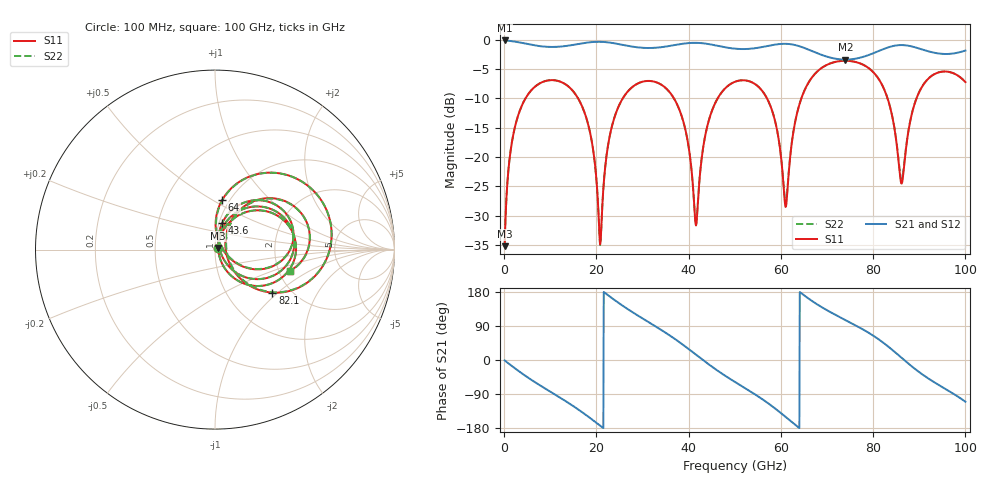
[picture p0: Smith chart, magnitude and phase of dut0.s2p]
! Touchstone file exported from HFSS 2026.1.0
!  File:  C:/ffzhzh/LocalFiles/Ansys_Project_Files/temp_train_TSV_RDL_0_1783435666_41684.aedt
!  Generated:  10:59:44 PM Jul  7, 2026
!  Design:  TSV_RDL
!  Project:  temp_train_TSV_RDL_0_1783435666_41684
! Variables:
!  h_bsmrdl = 2.12um
!  h_ox = 20um
!  h_rdl = 5um
!  h_sub = 80.26um
!  h_tmrdl = 4.34um
!  h_tsv = 80.26um
!  h_via = 3um
!  l_bsmrdl = 332.84um
!  l_sub = 2706.54um
!  l_tmrdl = 296.42um
!  m_sub = 200um
!  pitch = 40.78um
!  r_tsv = 6.63um
!  s_tmrdl = 10um
!  w_bsmrdl = 23.51um
!  w_sub = 500um
!  w_tmrdl = 17.27um
!  x_tsv_center1 = 305.055um
!  x_tsv_center2 = 661.405um
!  x_tsv_center3 = 975.095um
!  x_tsv_center4 = 1331.445um
!  x_tsv_center5 = 1645.135um
!  x_tsv_center6 = 2001.485um
# GHz S MA R 50.000000
! Terminal data exported
! Port[1] = TM_RDL1_1_T1
! Port[2] = TM_RDL5_1_T1
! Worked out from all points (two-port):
!   1000 points, 100 MHz to 100 GHz, reference 50 ohm
!   highest |S21| = -0.13 dB at 100 MHz (marker M1); lowest = -3.4 dB at 74 GHz (marker M2)
!   |S21| within 3 dB of the highest: start of sweep to 71.11 GHz; 76.86 GHz to end of sweep
!   lowest |S11| = -35.2 dB at 100 MHz (marker M3), VSWR 1.04, Z = 51.5 + j0.886 ohm
!   |S11| at or under -10 dB: 16.02 GHz to 25.73 GHz (9.708 GHz wide, 46.5 % of centre); 36.8 GHz to 46.3 GHz (9.5 GHz wide, 22.9 % of centre); 56.97 GHz to 64.44 GHz (7.47 GHz wide, 12.3 % of centre) (the widest 3 of 5)
!   |S22| runs from -35.2 to -3.6 dB; largest |S21 - S12| = 3.5e-14
!   S11 on the Smith chart (normalised r, x): 100 MHz: 1.03, +0.02; 43.6 GHz: 1.04, +0.31; 64 GHz: 0.92, +0.55; 82.1 GHz: 1.61, -0.92; 100 GHz: 2.31, -0.67
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0.1  0.01731 29.8  0.9851 -1.0  0.9851 -1.0  0.01731 29.8
! Gamma 0 0 0 0
! Port Impedance 50 0 50 0
1.7  0.1349 65.4  0.971 -16.1  0.971 -16.1  0.1349 65.4
4.8  0.3239 42.6  0.9225 -43.4  0.9225 -43.4  0.3239 42.6
16.8  0.2755 -45.9  0.9293 -136.8  0.9293 -136.8  0.2755 -45.9
19.1  0.1286 -61.7  0.9547 -157.4  0.9547 -157.4  0.1286 -61.8
20.8  0.01793 -1.9  0.9593 -173.1  0.9593 -173.1  0.01766 -2.0
24.6  0.2578 57.5  0.9206 152.5  0.9206 152.5  0.2577 57.6
33.4  0.4267 -6.0  0.8573 84.4  0.8573 84.4  0.4266 -5.9
38.7  0.2097 -44.3  0.9232 40.8  0.9232 40.8  0.2096 -44.2
41.5  0.02682 -0.8  0.9402 15.0  0.9402 15.0  0.02702 -0.2
43.6  0.1523 74.8  0.9267 -4.6  0.9267 -4.6  0.1525 74.9
50.1  0.4384 29.7  0.8379 -58.4  0.8379 -58.4  0.4386 29.8
57.4  0.292 -21.6  0.8884 -115.7  0.8884 -115.7  0.2923 -21.1
61  0.03743 22.5  0.9224 -149.9  0.9224 -149.9  0.04003 23.1
64  0.2791 81.8  0.8799 -179.7  0.8799 -179.7  0.2796 81.3
66.7  0.4743 61.7  0.8013 156.1  0.8013 156.1  0.4746 61.6
74  0.6609 15.1  0.6767 105.4  0.6767 105.4  0.6611 15.1
82.1  0.3994 -36.9  0.8273 46.6  0.8273 46.6  0.3999 -36.4
83.4  0.2911 -45.4  0.8633 34.2  0.8633 34.2  0.2919 -44.6
86.2  0.05923 9.7  0.8999 5.4  0.8999 5.4  0.06388 9.5
90.9  0.4139 43.9  0.8188 -40.0  0.8188 -40.0  0.4146 43.3
100  0.4349 -15.6  0.8078 -110.1  0.8078 -110.1  0.4349 -16.0
